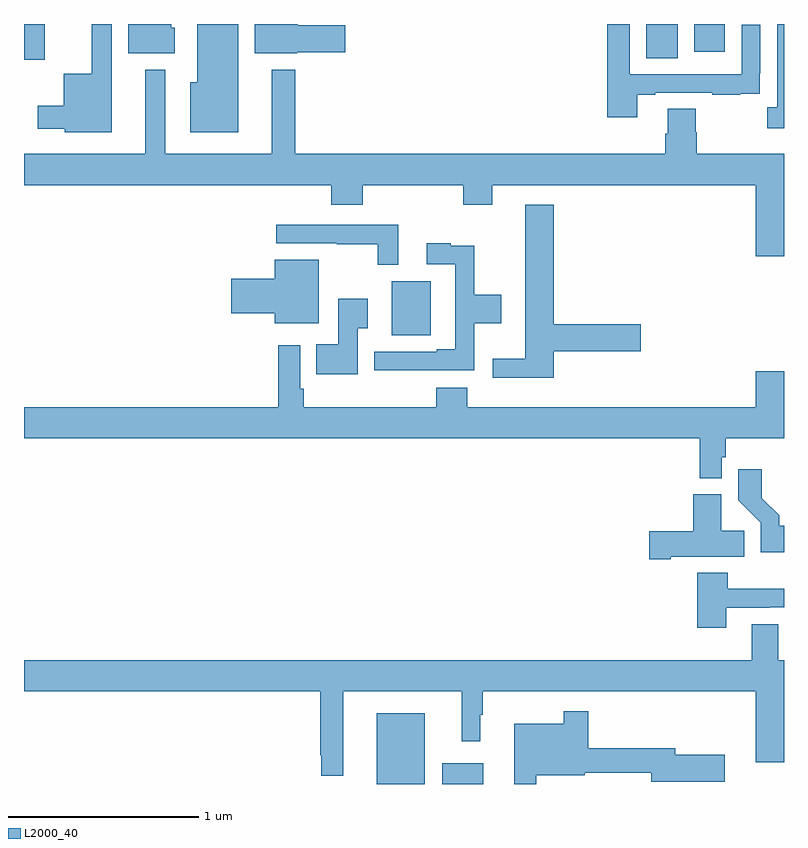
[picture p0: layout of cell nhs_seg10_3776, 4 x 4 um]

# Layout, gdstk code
import gdstk
lib = gdstk.Library(unit=1e-6, precision=1e-09)
def R(c, l, rs):  # rectangles x0, y0, x1, y1
    for r in rs: c.add(gdstk.rectangle(r[:2], r[2:], *l))
def P(c, l, *ps):  # polygons
    for p in ps: c.add(gdstk.Polygon(p, *l))
L2000_40 = (2000, 40)

nhs_seg10_3776 = lib.new_cell('nhs_seg10_3776')
R(nhs_seg10_3776, L2000_40, [(318.857,1294.5,319.108,1294.873), (319.202,1294.5,319.417,1294.609), (318.935,1296.863,319.141,1297.147), (317,1298.313,317.11,1298.5), (320.276,1298.32,320.44,1298.5), (320.528,1298.355,320.689,1298.5)])
P(nhs_seg10_3776, L2000_40, [(317.794,1298.481),(317.776,1298.481),(317.776,1298.5),(317.549,1298.5),(317.549,1298.345),(317.794,1298.345)],
  [(317.461,1298.5),(317.357,1298.5),(317.357,1298.239),(317.21,1298.239),(317.21,1298.071),(317.073,1298.071),(317.073,1297.949),(317.214,1297.949),(317.214,1297.931),(317.461,1297.931)],
  [(321,1298.5),(320.964,1298.5),(320.964,1298.062),(320.913,1298.062),(320.913,1297.952),(321,1297.952)],
  [(320.227,1298.127),(320.323,1298.127),(320.323,1298.139),(320.623,1298.139),(320.623,1298.127),(320.771,1298.127),(320.771,1298.133),(320.873,1298.133),(320.873,1298.242),(320.874,1298.242),(320.874,1298.497),(320.778,1298.497),(320.778,1298.235),(320.187,1298.235),(320.187,1298.5),(320.071,1298.5),(320.071,1298.01),(320.227,1298.01)],
  [(318.127,1298.5),(317.912,1298.5),(317.912,1298.194),(317.876,1298.194),(317.876,1297.931),(318.127,1297.931)],
  [(318.438,1298.351),(318.691,1298.351),(318.691,1298.493),(318.442,1298.493),(318.442,1298.5),(318.215,1298.5),(318.215,1298.345),(318.438,1298.345)],
  [(321,1297.816),(320.54,1297.816),(320.54,1297.929),(320.535,1297.929),(320.535,1298.054),(320.387,1298.054),(320.387,1297.922),(320.375,1297.922),(320.375,1297.816),(318.427,1297.816),(318.427,1298.26),(318.305,1298.26),(318.305,1297.816),(317.743,1297.816),(317.743,1298.26),(317.639,1298.26),(317.639,1297.816),(317,1297.816),(317,1297.652),(318.617,1297.652),(318.617,1297.55),(318.782,1297.55),(318.782,1297.652),(319.313,1297.652),(319.313,1297.55),(319.465,1297.55),(319.465,1297.652),(320.852,1297.652),(320.852,1297.278),(321,1297.278)],
  [(319.787,1296.778),(320.245,1296.778),(320.245,1296.92),(319.787,1296.92),(319.787,1297.549),(319.637,1297.549),(319.637,1296.737),(319.467,1296.737),(319.467,1296.638),(319.787,1296.638)],
  [(318.97,1297.443),(318.327,1297.443),(318.327,1297.347),(318.646,1297.347),(318.646,1297.342),(318.861,1297.342),(318.861,1297.232),(318.97,1297.232)],
  [(319.085,1296.678),(319.37,1296.678),(319.37,1296.926),(319.513,1296.926),(319.513,1297.074),(319.37,1297.074),(319.37,1297.334),(319.247,1297.334),(319.247,1297.345),(319.119,1297.345),(319.119,1297.236),(319.269,1297.236),(319.269,1296.787),(319.172,1296.787),(319.172,1296.774),(318.843,1296.774),(318.843,1296.677),(319.085,1296.677)],
  [(318.55,1297.258),(318.32,1297.258),(318.32,1297.16),(318.09,1297.16),(318.09,1296.977),(318.32,1296.977),(318.32,1296.926),(318.55,1296.926)],
  [(318.757,1296.898),(318.808,1296.898),(318.808,1297.054),(318.653,1297.054),(318.653,1296.814),(318.538,1296.814),(318.538,1296.656),(318.757,1296.656)],
  [(320.673,1296.219),(320.693,1296.219),(320.693,1296.32),(321,1296.32),(321,1296.673),(320.852,1296.673),(320.852,1296.484),(319.334,1296.484),(319.334,1296.586),(319.169,1296.586),(319.169,1296.484),(318.473,1296.484),(318.473,1296.58),(318.453,1296.58),(318.453,1296.808),(318.337,1296.808),(318.337,1296.484),(317,1296.484),(317,1296.32),(320.557,1296.32),(320.557,1296.11),(320.673,1296.11)],
  [(321,1295.86),(320.974,1295.86),(320.974,1295.915),(320.884,1296.005),(320.884,1296.157),(320.758,1296.157),(320.758,1295.994),(320.877,1295.875),(320.877,1295.72),(321,1295.72)],
  [(320.404,1295.696),(320.792,1295.696),(320.792,1295.834),(320.671,1295.834),(320.671,1296.025),(320.522,1296.025),(320.522,1295.831),(320.292,1295.831),(320.292,1295.684),(320.404,1295.684)],
  [(320.695,1295.427),(320.924,1295.427),(320.924,1295.43),(321,1295.43),(321,1295.527),(320.703,1295.527),(320.703,1295.611),(320.543,1295.611),(320.543,1295.322),(320.695,1295.322)],
  [(318.679,1294.988),(319.304,1294.988),(319.304,1294.725),(319.402,1294.725),(319.402,1294.865),(319.414,1294.865),(319.414,1294.988),(320.852,1294.988),(320.852,1294.614),(321,1294.614),(321,1295.152),(320.97,1295.152),(320.97,1295.342),(320.831,1295.342),(320.831,1295.152),(317,1295.152),(317,1294.988),(318.558,1294.988),(318.558,1294.651),(318.565,1294.651),(318.565,1294.544),(318.679,1294.544)],
  [(319.697,1294.547),(319.951,1294.547),(319.951,1294.558),(320.3,1294.558),(320.3,1294.511),(320.689,1294.511),(320.689,1294.653),(320.428,1294.653),(320.428,1294.687),(319.97,1294.687),(319.97,1294.882),(319.842,1294.882),(319.842,1294.816),(319.58,1294.816),(319.58,1294.5),(319.697,1294.5)])

lib.write_gds('nhs_seg10_3776.gds')
